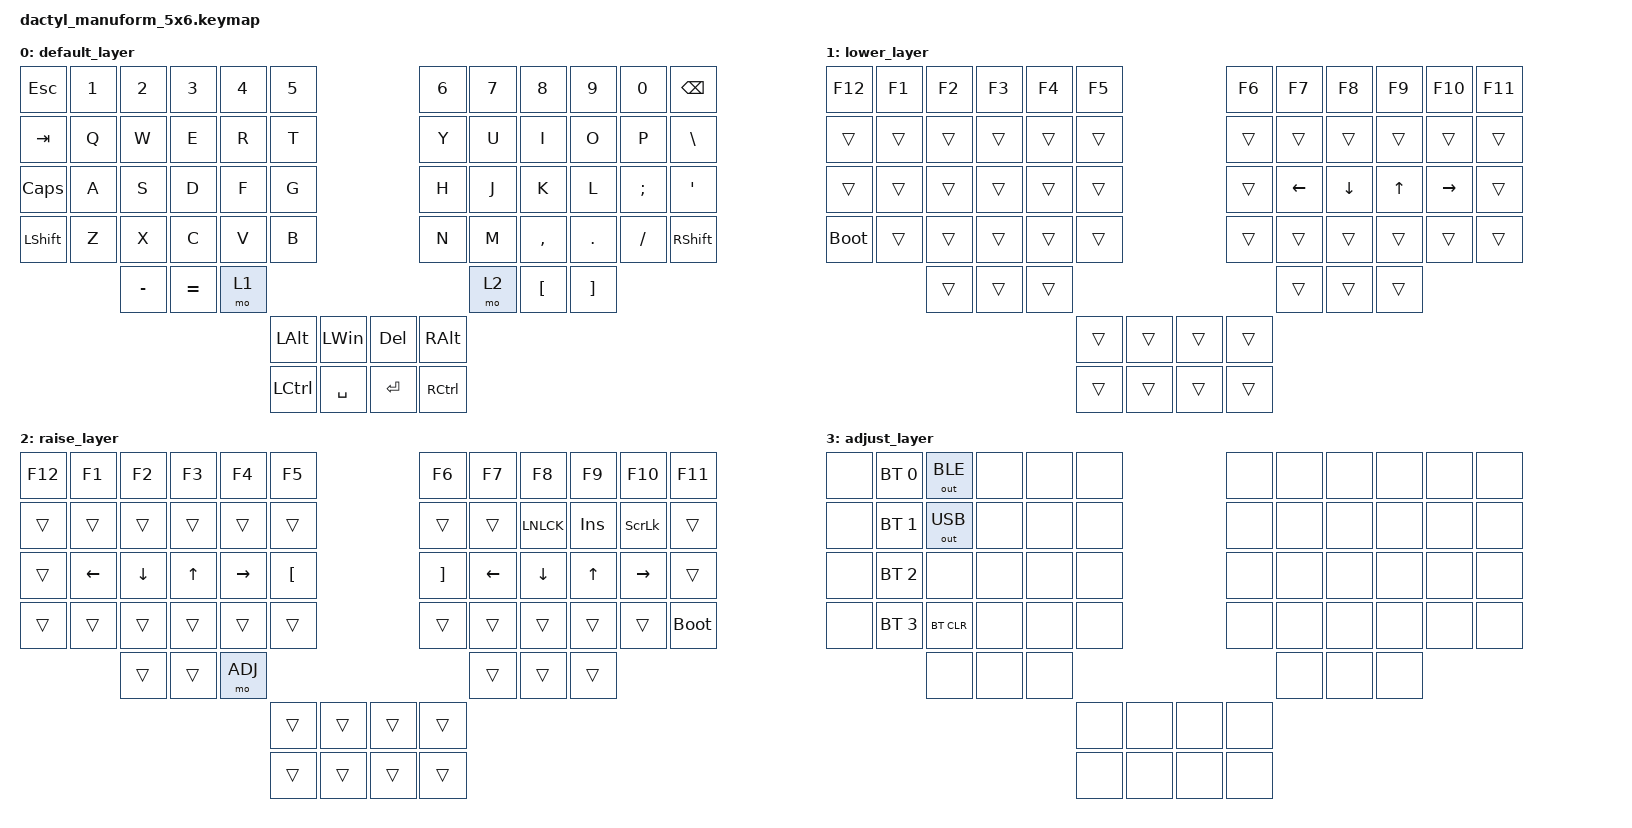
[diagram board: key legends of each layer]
#include <behaviors.dtsi>
#include <dt-bindings/zmk/bt.h>
#include <dt-bindings/zmk/keys.h>
#include <dt-bindings/zmk/outputs.h>

#define DEFAULT 0
#define LWR 1
#define RSE 2
#define ADJ 3

/ {
    keymap {
        compatible = "zmk,keymap";

        default_layer {
            bindings = <
&kp ESC         &kp N1  &kp N2     &kp N3     &kp N4  &kp N5                                 &kp N6         &kp N7  &kp N8            &kp N9             &kp N0    &kp BACKSPACE
&kp TAB         &kp Q   &kp W      &kp E      &kp R   &kp T                                  &kp Y          &kp U   &kp I             &kp O              &kp P     &kp BACKSLASH
&kp CAPSLOCK    &kp A   &kp S      &kp D      &kp F   &kp G                                  &kp H          &kp J   &kp K             &kp L              &kp SEMI  &kp SQT
&kp LEFT_SHIFT  &kp Z   &kp X      &kp C      &kp V   &kp B                                  &kp N          &kp M   &kp COMMA         &kp DOT            &kp FSLH  &kp RIGHT_SHIFT
                        &kp MINUS  &kp EQUAL  &mo 1                                                         &mo 2   &kp LEFT_BRACKET  &kp RIGHT_BRACKET
                                                      &kp LEFT_ALT  &kp LEFT_WIN  &kp DEL    &kp RIGHT_ALT
                                                      &kp LCTRL     &kp SPACE     &kp ENTER  &kp RCTRL
            >;
        };

        lower_layer {
            bindings = <
&kp F12      &kp F1  &kp F2  &kp F3  &kp F4  &kp F5                  &kp F6  &kp F7    &kp F8    &kp F9  &kp F10    &kp F11
&trans       &trans  &trans  &trans  &trans  &trans                  &trans  &trans    &trans    &trans  &trans     &trans
&trans       &trans  &trans  &trans  &trans  &trans                  &trans  &kp LEFT  &kp DOWN  &kp UP  &kp RIGHT  &trans
&bootloader  &trans  &trans  &trans  &trans  &trans                  &trans  &trans    &trans    &trans  &trans     &trans
                     &trans  &trans  &trans                                  &trans    &trans    &trans
                                             &trans  &trans  &trans  &trans
                                             &trans  &trans  &trans  &trans
            >;
        };

        raise_layer {
            bindings = <
&kp F12  &kp F1    &kp F2    &kp F3  &kp F4     &kp F5                    &kp F6    &kp F7    &kp F8     &kp F9   &kp F10    &kp F11
&trans   &trans    &trans    &trans  &trans     &trans                    &trans    &trans    &kp LNLCK  &kp INS  &kp SLCK   &trans
&trans   &kp LEFT  &kp DOWN  &kp UP  &kp RIGHT  &kp LBKT                  &kp RBKT  &kp LEFT  &kp DOWN   &kp UP   &kp RIGHT  &trans
&trans   &trans    &trans    &trans  &trans     &trans                    &trans    &trans    &trans     &trans   &trans     &bootloader
                   &trans    &trans  &mo ADJ                                        &trans    &trans     &trans
                                                &trans    &trans  &trans  &trans
                                                &trans    &trans  &trans  &trans
            >;
        };

        adjust_layer {
            bindings = <
&none  &bt BT_SEL 0  &out OUT_BLE  &none  &none  &none                &none  &none  &none  &none  &none  &none
&none  &bt BT_SEL 1  &out OUT_USB  &none  &none  &none                &none  &none  &none  &none  &none  &none
&none  &bt BT_SEL 2  &none         &none  &none  &none                &none  &none  &none  &none  &none  &none
&none  &bt BT_SEL 3  &bt BT_CLR    &none  &none  &none                &none  &none  &none  &none  &none  &none
                     &none         &none  &none                              &none  &none  &none
                                                 &none  &none  &none  &none
                                                 &none  &none  &none  &none
            >;
        };
    };
};
